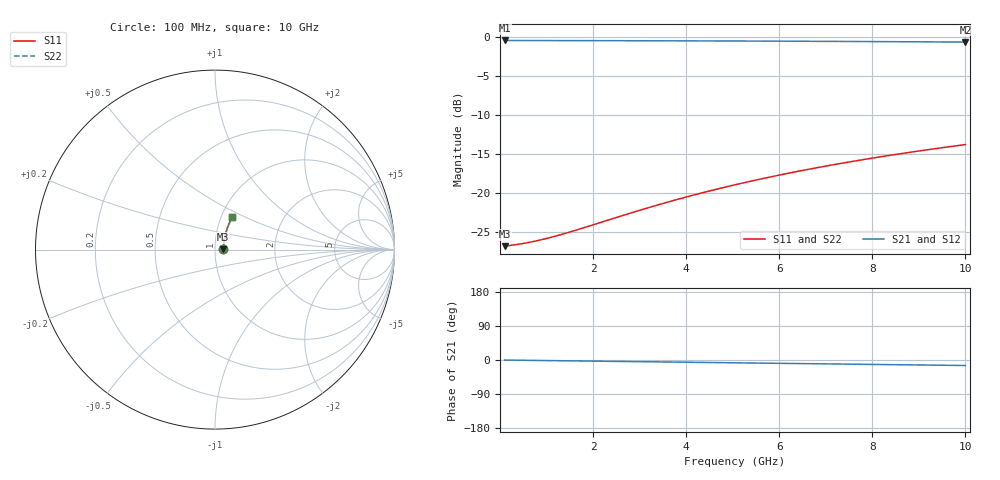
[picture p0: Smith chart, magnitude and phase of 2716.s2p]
# Hz S RI R 50.00
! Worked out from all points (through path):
!   100 points, 100 MHz to 10 GHz, reference 50 ohm
!   highest |S21| = -0.41 dB at 100 MHz (marker M1); lowest = -0.6 dB at 10 GHz (marker M2)
!   group delay of S21, straight-line fit = 4.04 ps
!   lowest |S11| = -26.8 dB at 100 MHz (marker M3), VSWR 1.10, Z = 54.8 + j0.212 ohm
!   |S11| at or under -10 dB: start of sweep to end of sweep
!   |S22| runs from -26.8 to -13.8 dB; largest |S21 - S12| = 0
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1e8  0.0458 0.00193  0.9542 -0.00246  0.9542 -0.00246  0.0458 0.00193
3e8  0.0463 0.00579  0.9537 -0.00737  0.9537 -0.00737  0.0463 0.00579
5e8  0.0467 0.00964  0.9533 -0.0123  0.9533 -0.0123  0.0467 0.00964
7e8  0.0471 0.0135  0.9529 -0.0172  0.9529 -0.0172  0.0471 0.0135
9e8  0.0474 0.0173  0.9526 -0.0221  0.9526 -0.0221  0.0474 0.0173
1.1e9  0.0478 0.0212  0.9522 -0.027  0.9522 -0.027  0.0478 0.0212
1.3e9  0.0482 0.025  0.9518 -0.0318  0.9518 -0.0318  0.0482 0.025
1.8e9  0.0492 0.0346  0.9507 -0.044  0.9507 -0.044  0.0492 0.0346
2.8e9  0.0519 0.0535  0.948 -0.0683  0.948 -0.0683  0.0519 0.0535
3.4e9  0.0539 0.0649  0.9459 -0.0828  0.9459 -0.0828  0.0539 0.0649
3.8e9  0.0555 0.0723  0.9443 -0.0924  0.9443 -0.0924  0.0555 0.0723
4.2e9  0.0571 0.0798  0.9426 -0.1019  0.9426 -0.1019  0.0571 0.0798
4.6e9  0.059 0.0872  0.9407 -0.1115  0.9407 -0.1115  0.059 0.0872
5.1e9  0.0614 0.0964  0.9382 -0.1233  0.9382 -0.1233  0.0614 0.0964
5.5e9  0.0635 0.1037  0.936 -0.1327  0.936 -0.1327  0.0635 0.1037
5.9e9  0.0658 0.1109  0.9337 -0.142  0.9337 -0.142  0.0658 0.1109
6.3e9  0.0682 0.1181  0.9312 -0.1513  0.9312 -0.1513  0.0682 0.1181
6.7e9  0.0708 0.1252  0.9286 -0.1606  0.9286 -0.1606  0.0708 0.1252
7.5e9  0.0763 0.1392  0.9229 -0.1788  0.9229 -0.1788  0.0763 0.1392
8.4e9  0.0831 0.1546  0.9159 -0.199  0.9159 -0.199  0.0831 0.1546
9.2e9  0.0897 0.168  0.9091 -0.2166  0.9091 -0.2166  0.0897 0.168
1e10  0.0968 0.181  0.9018 -0.2339  0.9018 -0.2339  0.0968 0.181
